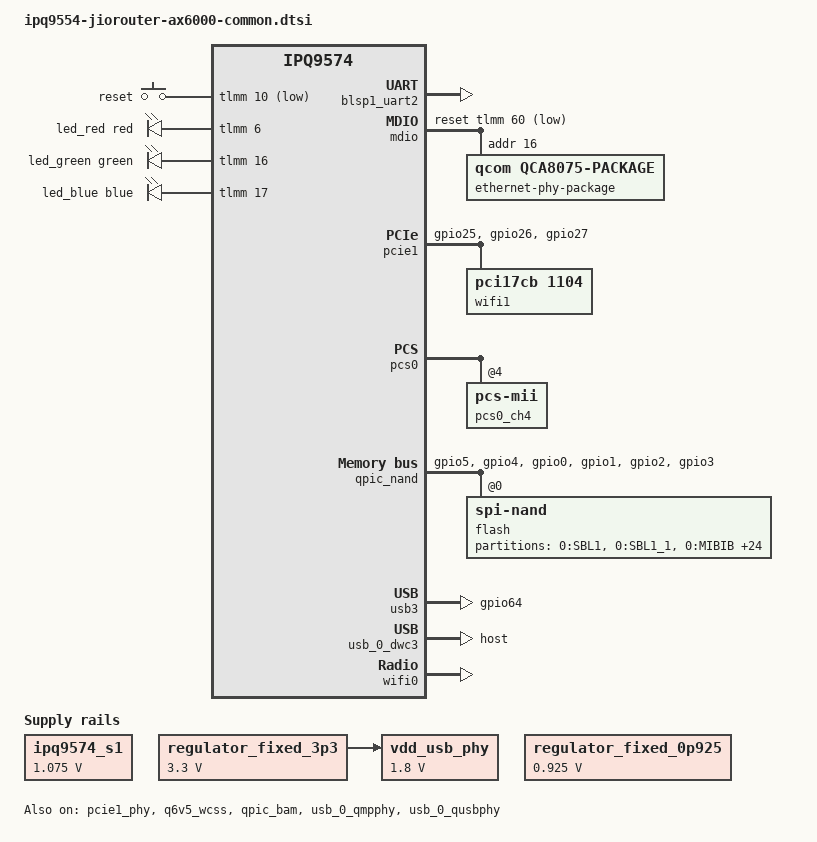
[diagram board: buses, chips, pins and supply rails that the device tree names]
// SPDX-License-Identifier: (GPL-2.0+ OR BSD-3-Clause)

#include <dt-bindings/gpio/gpio.h>
#include <dt-bindings/input/input.h>
#include <dt-bindings/leds/common.h>
#include "ipq9574.dtsi"

/ {
	aliases {
		serial0 = &blsp1_uart2;
		label-mac-device = &wan;
		led-boot = &led_red;
		led-failsafe = &led_red;
		led-running = &led_red;
		led-upgrade = &led_blue;
	};

	chosen {
		stdout-path = "serial0:115200n8";
	};

	/*
	 * As in the stock firmware, nothing talks to the RPM here, so VDD_CPU
	 * is a fixed 1.075 V rail and not the adjustable supply the SoC dtsi
	 * assumes.
	 */
	ipq9574_s1: regulator-cpu {
		compatible = "regulator-fixed";
		regulator-min-microvolt = <1075000>;
		regulator-max-microvolt = <1075000>;
		regulator-boot-on;
		regulator-always-on;
		regulator-name = "cpu-vdd";
	};

	regulator_fixed_3p3: regulator-3p3 {
		compatible = "regulator-fixed";
		regulator-min-microvolt = <3300000>;
		regulator-max-microvolt = <3300000>;
		regulator-boot-on;
		regulator-always-on;
		regulator-name = "fixed_3p3";
	};

	regulator_fixed_0p925: regulator-0p925 {
		compatible = "regulator-fixed";
		regulator-min-microvolt = <925000>;
		regulator-max-microvolt = <925000>;
		regulator-boot-on;
		regulator-always-on;
		regulator-name = "fixed_0p925";
	};

	/* USB PHY PLL supply, stepped down from the 3.3 V rail */
	vdd_usb_phy: regulator-usb-phy {
		compatible = "regulator-fixed";
		regulator-min-microvolt = <1800000>;
		regulator-max-microvolt = <1800000>;
		regulator-boot-on;
		regulator-always-on;
		vin-supply = <&regulator_fixed_3p3>;
		regulator-name = "vdd_usb_phy";
	};

	gpio-keys {
		compatible = "gpio-keys";
		pinctrl-0 = <&gpio_keys_default>;
		pinctrl-names = "default";

		button-reset {
			label = "reset";
			linux,code = <KEY_RESTART>;
			gpios = <&tlmm 10 GPIO_ACTIVE_LOW>;
			debounce-interval = <60>;
		};
	};

	leds {
		compatible = "gpio-leds";
		pinctrl-0 = <&gpio_leds_default>;
		pinctrl-names = "default";

		led_red: led-0 {
			color = <LED_COLOR_ID_RED>;
			function = LED_FUNCTION_STATUS;
			gpios = <&tlmm 6 GPIO_ACTIVE_HIGH>;
			default-state = "on";
		};

		led_green: led-1 {
			color = <LED_COLOR_ID_GREEN>;
			function = LED_FUNCTION_STATUS;
			gpios = <&tlmm 16 GPIO_ACTIVE_HIGH>;
		};

		led_blue: led-2 {
			color = <LED_COLOR_ID_BLUE>;
			function = LED_FUNCTION_STATUS;
			gpios = <&tlmm 17 GPIO_ACTIVE_HIGH>;
		};
	};
};

&blsp1_uart2 {
	pinctrl-0 = <&uart2_pins>;
	pinctrl-names = "default";
	status = "okay";
};

/*
 * With a fixed CPU rail every OPP asks for its 1.075 V, instead of the
 * 725-1062 mV the SoC dtsi requests.
 */
&cpu_opp_table {
	opp-936000000 {
		opp-microvolt = <1075000>;
	};

	opp-1104000000 {
		opp-microvolt = <1075000>;
	};

	opp-1200000000 {
		opp-microvolt = <1075000>;
	};

	opp-1416000000 {
		opp-microvolt = <1075000>;
	};

	opp-1488000000 {
		opp-microvolt = <1075000>;
	};
};

&mdio {
	reset-gpios = <&tlmm 60 GPIO_ACTIVE_LOW>;
	status = "okay";

	ethernet-phy-package@10 {
		compatible = "qcom,qca8075-package";
		reg = <0x10>;
		#address-cells = <1>;
		#size-cells = <0>;

		phy0: ethernet-phy@10 {
			reg = <0x10>;
		};

		phy1: ethernet-phy@11 {
			reg = <0x11>;
		};

		phy2: ethernet-phy@12 {
			reg = <0x12>;
		};

		phy3: ethernet-phy@13 {
			reg = <0x13>;
		};

		phy4: ethernet-phy@14 {
			reg = <0x14>;
		};
	};
};

&pcie1 {
	pinctrl-0 = <&pcie1_default>;
	pinctrl-names = "default";

	perst-gpios = <&tlmm 26 GPIO_ACTIVE_LOW>;
	wake-gpios = <&tlmm 27 GPIO_ACTIVE_LOW>;
	status = "okay";

	pcie@0 {
		device_type = "pci";
		reg = <0x0 0x0 0x0 0x0 0x0>;
		bus-range = <0x01 0xff>;

		#address-cells = <3>;
		#size-cells = <2>;
		ranges;

		wifi1: wifi@0,0 {
			compatible = "pci17cb,1104";
			reg = <0x00010000 0 0 0 0>;
			nvmem-cells = <&cal_qcn9074>, <&macaddr_art_5g>;
			nvmem-cell-names = "calibration", "mac-address";
			qcom,ath11k-fw-memory-mode = <2>;
		};
	};
};

&pcie1_phy {
	status = "okay";
};

&pcs0 {
	pcs0_ch4: pcs-mii@4 {
		reg = <4>;
		clocks = <&nsscc NSS_CC_UNIPHY_PORT5_RX_CLK>,
			 <&nsscc NSS_CC_UNIPHY_PORT5_TX_CLK>;
		clock-names = "rx", "tx";
	};
};

&pcs1 {
	status = "disabled";
};

&pcs2 {
	status = "disabled";
};

&q6v5_wcss {
	status = "okay";
};

&qcom_ppe {
	assigned-clocks = <&nsscc NSS_CC_PORT1_RX_CLK_SRC>,
			  <&nsscc NSS_CC_PORT1_TX_CLK_SRC>,
			  <&nsscc NSS_CC_PORT2_RX_CLK_SRC>,
			  <&nsscc NSS_CC_PORT2_TX_CLK_SRC>,
			  <&nsscc NSS_CC_PORT3_RX_CLK_SRC>,
			  <&nsscc NSS_CC_PORT3_TX_CLK_SRC>,
			  <&nsscc NSS_CC_PORT4_RX_CLK_SRC>,
			  <&nsscc NSS_CC_PORT4_TX_CLK_SRC>,
			  <&nsscc NSS_CC_PORT5_RX_CLK_SRC>,
			  <&nsscc NSS_CC_PORT5_TX_CLK_SRC>;
	assigned-clock-rates = <125000000>, <125000000>,
			       <125000000>, <125000000>,
			       <125000000>, <125000000>,
			       <125000000>, <125000000>,
			       <125000000>, <125000000>;

	ethernet-ports {
		#address-cells = <1>;
		#size-cells = <0>;

		wan: port@1 {
			reg = <1>;
			label = "wan";
			phy-mode = "psgmii";
			managed = "in-band-status";
			phy-handle = <&phy0>;
			pcs-handle = <&pcs0_ch0>;
			nvmem-cells = <&macaddr_art 0>;
			nvmem-cell-names = "mac-address";
			clocks = <&nsscc NSS_CC_PORT1_MAC_CLK>,
				 <&nsscc NSS_CC_PORT1_RX_CLK>,
				 <&nsscc NSS_CC_PORT1_TX_CLK>;
			clock-names = "mac", "rx", "tx";

			resets = <&nsscc PORT1_MAC_ARES>,
				 <&nsscc PORT1_RX_ARES>,
				 <&nsscc PORT1_TX_ARES>;
			reset-names = "mac", "rx", "tx";
		};

		lan1: port@2 {
			reg = <2>;
			label = "lan1";
			phy-mode = "psgmii";
			managed = "in-band-status";
			phy-handle = <&phy1>;
			pcs-handle = <&pcs0_ch1>;
			nvmem-cells = <&macaddr_art 1>;
			nvmem-cell-names = "mac-address";
			clocks = <&nsscc NSS_CC_PORT2_MAC_CLK>,
				 <&nsscc NSS_CC_PORT2_RX_CLK>,
				 <&nsscc NSS_CC_PORT2_TX_CLK>;
			clock-names = "mac", "rx", "tx";

			resets = <&nsscc PORT2_MAC_ARES>,
				 <&nsscc PORT2_RX_ARES>,
				 <&nsscc PORT2_TX_ARES>;
			reset-names = "mac", "rx", "tx";
		};

		lan2: port@3 {
			reg = <3>;
			label = "lan2";
			phy-mode = "psgmii";
			managed = "in-band-status";
			phy-handle = <&phy2>;
			pcs-handle = <&pcs0_ch2>;
			nvmem-cells = <&macaddr_art 1>;
			nvmem-cell-names = "mac-address";
			clocks = <&nsscc NSS_CC_PORT3_MAC_CLK>,
				 <&nsscc NSS_CC_PORT3_RX_CLK>,
				 <&nsscc NSS_CC_PORT3_TX_CLK>;
			clock-names = "mac", "rx", "tx";

			resets = <&nsscc PORT3_MAC_ARES>,
				 <&nsscc PORT3_RX_ARES>,
				 <&nsscc PORT3_TX_ARES>;
			reset-names = "mac", "rx", "tx";
		};

		lan3: port@4 {
			reg = <4>;
			label = "lan3";
			phy-mode = "psgmii";
			managed = "in-band-status";
			phy-handle = <&phy3>;
			pcs-handle = <&pcs0_ch3>;
			nvmem-cells = <&macaddr_art 1>;
			nvmem-cell-names = "mac-address";
			clocks = <&nsscc NSS_CC_PORT4_MAC_CLK>,
				 <&nsscc NSS_CC_PORT4_RX_CLK>,
				 <&nsscc NSS_CC_PORT4_TX_CLK>;
			clock-names = "mac", "rx", "tx";

			resets = <&nsscc PORT4_MAC_ARES>,
				 <&nsscc PORT4_RX_ARES>,
				 <&nsscc PORT4_TX_ARES>;
			reset-names = "mac", "rx", "tx";
		};

		lan4: port@5 {
			reg = <5>;
			label = "lan4";
			phy-mode = "psgmii";
			managed = "in-band-status";
			phy-handle = <&phy4>;
			pcs-handle = <&pcs0_ch4>;
			nvmem-cells = <&macaddr_art 1>;
			nvmem-cell-names = "mac-address";
			clocks = <&nsscc NSS_CC_PORT5_MAC_CLK>,
				 <&nsscc NSS_CC_PORT5_RX_CLK>,
				 <&nsscc NSS_CC_PORT5_TX_CLK>;
			clock-names = "mac", "rx", "tx";

			resets = <&nsscc PORT5_MAC_ARES>,
				 <&nsscc PORT5_RX_ARES>,
				 <&nsscc PORT5_TX_ARES>;
			reset-names = "mac", "rx", "tx";
		};
	};
};

&qpic_bam {
	status = "okay";
};

&qpic_nand {
	pinctrl-0 = <&qpic_snand_default_state>;
	pinctrl-names = "default";
	status = "okay";

	flash@0 {
		compatible = "spi-nand";
		reg = <0>;
		nand-ecc-engine = <&qpic_nand>;
		nand-ecc-strength = <8>;
		nand-ecc-step-size = <512>;

		partitions {
			compatible = "fixed-partitions";
			#address-cells = <1>;
			#size-cells = <1>;

			partition@0 {
				label = "0:SBL1";
				reg = <0x00 0x180000>;
				read-only;
			};

			partition@180000 {
				label = "0:SBL1_1";
				reg = <0x180000 0x180000>;
				read-only;
			};

			partition@300000 {
				label = "0:MIBIB";
				reg = <0x300000 0x100000>;
				read-only;
			};

			partition@400000 {
				label = "0:BOOTCONFIG";
				reg = <0x400000 0x80000>;
				read-only;
			};

			partition@480000 {
				label = "0:BOOTCONFIG1";
				reg = <0x480000 0x80000>;
				read-only;
			};

			partition@500000 {
				label = "0:QSEE";
				reg = <0x500000 0x380000>;
				read-only;
			};

			partition@880000 {
				label = "0:QSEE_1";
				reg = <0x880000 0x380000>;
				read-only;
			};

			partition@c00000 {
				label = "0:DEVCFG";
				reg = <0xc00000 0x80000>;
				read-only;
			};

			partition@c80000 {
				label = "0:DEVCFG_1";
				reg = <0xc80000 0x80000>;
				read-only;
			};

			partition@d00000 {
				label = "0:APDP";
				reg = <0xd00000 0x80000>;
				read-only;
			};

			partition@d80000 {
				label = "0:APDP_1";
				reg = <0xd80000 0x80000>;
				read-only;
			};

			partition@e00000 {
				label = "0:TME";
				reg = <0xe00000 0x80000>;
				read-only;
			};

			partition@e80000 {
				label = "0:TME_1";
				reg = <0xe80000 0x80000>;
				read-only;
			};

			partition@f00000 {
				label = "0:RPM";
				reg = <0xf00000 0x80000>;
				read-only;
			};

			partition@f80000 {
				label = "0:RPM_1";
				reg = <0xf80000 0x80000>;
				read-only;
			};

			partition@1000000 {
				label = "0:CDT";
				reg = <0x1000000 0x80000>;
				read-only;
			};

			partition@1080000 {
				label = "0:CDT_1";
				reg = <0x1080000 0x80000>;
				read-only;
			};

			partition@1100000 {
				label = "0:APPSBLENV";
				reg = <0x1100000 0x80000>;
			};

			partition@1180000 {
				label = "0:APPSBL";
				reg = <0x1180000 0x180000>;
				read-only;
			};

			partition@1300000 {
				label = "0:APPSBL_1";
				reg = <0x1300000 0x180000>;
				read-only;
			};

			partition@1480000 {
				label = "0:ART";
				reg = <0x1480000 0x100000>;
				read-only;

				nvmem-layout {
					compatible = "fixed-layout";
					#address-cells = <1>;
					#size-cells = <1>;

					macaddr_art: macaddr@0 {
						compatible = "mac-base";
						reg = <0x0 0x6>;
						#nvmem-cell-cells = <1>;
					};

					macaddr_art_2g: macaddr@100e {
						reg = <0x100e 0x6>;
					};

					macaddr_art_5g: macaddr@4c00e {
						reg = <0x4c00e 0x6>;
					};

					cal_ipq9574: calibration@1000 {
						reg = <0x1000 0x20000>;
					};

					cal_qcn9074: calibration@4c000 {
						reg = <0x4c000 0x20000>;
					};
				};
			};

			partition@1580000 {
				label = "0:ETHPHYFW";
				reg = <0x1580000 0x100000>;
				read-only;
			};

			partition@1680000 {
				label = "0:TRAINING";
				reg = <0x1680000 0x80000>;
				read-only;
			};

			partition@1700000 {
				label = "ubi";
				reg = <0x1700000 0xe100000>;
			};

			partition@f800000 {
				label = "Jio-Reserved";
				reg = <0xf800000 0x200000>;
				read-only;
			};

			partition@fa00000 {
				label = "MFG";
				reg = <0xfa00000 0x200000>;
				read-only;
			};

			partition@fc00000 {
				label = "0:BDF";
				reg = <0xfc00000 0x200000>;
				read-only;
			};
		};
	};
};

&ref_48mhz_clk {
	clock-div = <1>;
	clock-mult = <2>;
};

&rpm {
	status = "disabled";
};

&sleep_clk {
	clock-frequency = <32000>;
};

&tlmm {
	gpio_keys_default: gpio-keys-default-state {
		pins = "gpio10";
		function = "gpio";
		drive-strength = <8>;
		bias-pull-up;
	};

	gpio_leds_default: gpio-leds-default-state {
		pins = "gpio6", "gpio16", "gpio17";
		function = "gpio";
		drive-strength = <8>;
		bias-pull-up;
	};

	pcie1_default: pcie1-default-state {
		clkreq-n-pins {
			pins = "gpio25";
			function = "pcie1_clk";
			drive-strength = <6>;
			bias-pull-up;
		};

		perst-n-pins {
			pins = "gpio26";
			function = "gpio";
			drive-strength = <8>;
			bias-pull-down;
			output-low;
		};

		wake-n-pins {
			pins = "gpio27";
			function = "pcie1_wake";
			drive-strength = <6>;
			bias-pull-up;
		};
	};

	qpic_snand_default_state: qpic-snand-default-state {
		clock-pins {
			pins = "gpio5";
			function = "qspi_clk";
			drive-strength = <8>;
			bias-disable;
		};

		cs-pins {
			pins = "gpio4";
			function = "qspi_cs";
			drive-strength = <8>;
			bias-disable;
		};

		data-pins {
			pins = "gpio0", "gpio1", "gpio2", "gpio3";
			function = "qspi_data";
			drive-strength = <8>;
			bias-disable;
		};
	};

	usb_supply_pin: usb-supply-state {
		pins = "gpio64";
		function = "gpio";
		drive-strength = <8>;
		bias-pull-up;
		output-high;
	};
};

&usb3 {
	pinctrl-0 = <&usb_supply_pin>;
	pinctrl-names = "default";
	status = "okay";
};

&usb_0_dwc3 {
	dr_mode = "host";
};

&usb_0_qmpphy {
	vdda-pll-supply = <&vdd_usb_phy>;
	vdda-phy-supply = <&regulator_fixed_0p925>;
	status = "okay";
};

&usb_0_qusbphy {
	vdd-supply = <&regulator_fixed_0p925>;
	vdda-pll-supply = <&vdd_usb_phy>;
	vdda-phy-dpdm-supply = <&regulator_fixed_3p3>;
	status = "okay";
};

&wifi0 {
	nvmem-cells = <&cal_ipq9574>, <&macaddr_art_2g>;
	nvmem-cell-names = "calibration", "mac-address";
	qcom,ath11k-fw-memory-mode = <2>;
	status = "okay";
};

&xo_board_clk {
	clock-div = <2>;
	clock-mult = <1>;
};

&xo_clk {
	clock-frequency = <24000000>;
};
